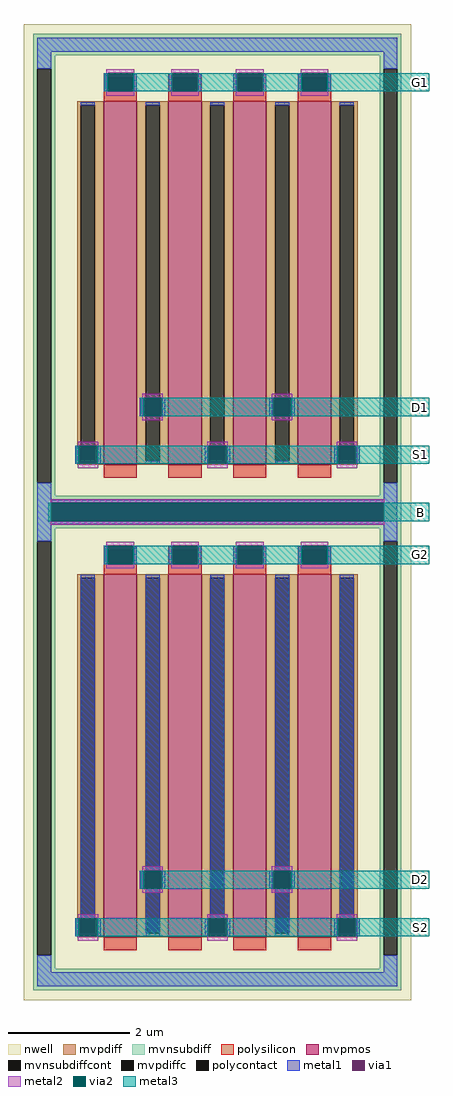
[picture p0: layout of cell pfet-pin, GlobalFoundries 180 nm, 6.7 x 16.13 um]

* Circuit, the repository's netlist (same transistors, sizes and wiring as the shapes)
** sch_path: /foss/designs/sscs-chipathon2025-LNA/designs/libs/core_single-fet/pfet-pin/pfet-pin.sch
.subckt pfet-pin B S1 G1 D1 S2 G2 D2
*.PININFO S1:B B:B G1:B D1:B S2:B G2:B D2:B
M5 D1 G1 S1 B pfet_06v0 L=0.55u W=6.0u nf=1 m=4
M6 D2 G2 S2 B pfet_06v0 L=0.55u W=6.0u nf=1 m=4
.ends

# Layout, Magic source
magic
tech gf180mcuD
magscale 1 10
<< metal1 >>
rect 197 -1027 209 -967
rect 293 -1027 305 -967
rect 411 -1027 423 -967
rect 507 -1027 519 -967
rect 625 -1027 637 -967
rect 721 -1027 733 -967
rect 839 -1027 851 -967
rect 935 -1027 947 -967
rect 316 -2100 328 -2040
rect 388 -2100 400 -2040
rect 744 -2100 756 -2040
rect 816 -2100 828 -2040
rect 102 -2258 114 -2198
rect 174 -2258 186 -2198
rect 530 -2258 542 -2198
rect 602 -2258 614 -2198
rect 958 -2258 970 -2198
rect 1030 -2258 1042 -2198
rect 13 -2447 23 -2387
rect 1121 -2447 1131 -2387
rect 197 -2589 209 -2529
rect 293 -2589 305 -2529
rect 411 -2589 423 -2529
rect 507 -2589 519 -2529
rect 625 -2589 637 -2529
rect 721 -2589 733 -2529
rect 839 -2589 851 -2529
rect 935 -2589 947 -2529
rect 121 -3760 167 -2624
rect 335 -3602 381 -2624
rect 316 -3662 328 -3602
rect 388 -3662 400 -3602
rect 102 -3820 114 -3760
rect 174 -3820 186 -3760
rect 335 -3820 381 -3662
rect 549 -3760 595 -2624
rect 763 -3602 809 -2624
rect 744 -3662 756 -3602
rect 816 -3662 828 -3602
rect 530 -3820 542 -3760
rect 602 -3820 614 -3760
rect 763 -3820 809 -3662
rect 977 -3760 1023 -2624
rect 958 -3820 970 -3760
rect 1030 -3820 1042 -3760
<< via1 >>
rect 209 -1027 293 -967
rect 423 -1027 507 -967
rect 637 -1027 721 -967
rect 851 -1027 935 -967
rect 328 -2100 388 -2040
rect 756 -2100 816 -2040
rect 114 -2258 174 -2198
rect 542 -2258 602 -2198
rect 970 -2258 1030 -2198
rect 23 -2447 1121 -2387
rect 209 -2589 293 -2529
rect 423 -2589 507 -2529
rect 637 -2589 721 -2529
rect 851 -2589 935 -2529
rect 328 -3662 388 -3602
rect 114 -3820 174 -3760
rect 756 -3662 816 -3602
rect 542 -3820 602 -3760
rect 970 -3820 1030 -3760
<< metal2 >>
rect 205 -967 297 -953
rect 205 -1027 209 -967
rect 293 -1027 297 -967
rect 205 -1041 297 -1027
rect 419 -967 511 -953
rect 419 -1027 423 -967
rect 507 -1027 511 -967
rect 419 -1041 511 -1027
rect 633 -967 725 -953
rect 633 -1027 637 -967
rect 721 -1027 725 -967
rect 633 -1041 725 -1027
rect 847 -967 939 -953
rect 847 -1027 851 -967
rect 935 -1027 939 -967
rect 847 -1041 939 -1027
rect 324 -2040 392 -2026
rect 324 -2100 328 -2040
rect 388 -2100 392 -2040
rect 324 -2114 392 -2100
rect 752 -2040 820 -2026
rect 752 -2100 756 -2040
rect 816 -2100 820 -2040
rect 752 -2114 820 -2100
rect 110 -2198 178 -2184
rect 110 -2258 114 -2198
rect 174 -2258 178 -2198
rect 110 -2272 178 -2258
rect 538 -2198 606 -2184
rect 538 -2258 542 -2198
rect 602 -2258 606 -2198
rect 538 -2272 606 -2258
rect 966 -2198 1034 -2184
rect 966 -2258 970 -2198
rect 1030 -2258 1034 -2198
rect 966 -2272 1034 -2258
rect 21 -2387 1123 -2375
rect 21 -2447 23 -2387
rect 1121 -2447 1123 -2387
rect 21 -2459 1123 -2447
rect 205 -2529 297 -2515
rect 205 -2589 209 -2529
rect 293 -2589 297 -2529
rect 205 -2603 297 -2589
rect 419 -2529 511 -2515
rect 419 -2589 423 -2529
rect 507 -2589 511 -2529
rect 419 -2603 511 -2589
rect 633 -2529 725 -2515
rect 633 -2589 637 -2529
rect 721 -2589 725 -2529
rect 633 -2603 725 -2589
rect 847 -2529 939 -2515
rect 847 -2589 851 -2529
rect 935 -2589 939 -2529
rect 847 -2603 939 -2589
rect 324 -3602 392 -3588
rect 324 -3662 328 -3602
rect 388 -3662 392 -3602
rect 324 -3676 392 -3662
rect 752 -3602 820 -3588
rect 752 -3662 756 -3602
rect 816 -3662 820 -3602
rect 752 -3676 820 -3662
rect 110 -3760 178 -3746
rect 110 -3820 114 -3760
rect 174 -3820 178 -3760
rect 110 -3834 178 -3820
rect 538 -3760 606 -3746
rect 538 -3820 542 -3760
rect 602 -3820 606 -3760
rect 538 -3834 606 -3820
rect 966 -3760 1034 -3746
rect 966 -3820 970 -3760
rect 1030 -3820 1034 -3760
rect 966 -3834 1034 -3820
<< via2 >>
rect 209 -1027 293 -967
rect 423 -1027 507 -967
rect 637 -1027 721 -967
rect 851 -1027 935 -967
rect 328 -2100 388 -2040
rect 756 -2100 816 -2040
rect 114 -2258 174 -2198
rect 542 -2258 602 -2198
rect 970 -2258 1030 -2198
rect 23 -2447 1121 -2387
rect 209 -2589 293 -2529
rect 423 -2589 507 -2529
rect 637 -2589 721 -2529
rect 851 -2589 935 -2529
rect 328 -3662 388 -3602
rect 756 -3662 816 -3602
rect 114 -3820 174 -3760
rect 542 -3820 602 -3760
rect 970 -3820 1030 -3760
<< metal3 >>
rect 199 -1027 209 -967
rect 293 -1027 423 -967
rect 507 -1027 637 -967
rect 721 -1027 851 -967
rect 935 -1027 1272 -967
rect 318 -2100 328 -2040
rect 388 -2100 756 -2040
rect 816 -2100 1272 -2040
rect 104 -2258 114 -2198
rect 174 -2258 542 -2198
rect 602 -2258 970 -2198
rect 1030 -2258 1272 -2198
rect 13 -2447 23 -2387
rect 1121 -2447 1272 -2387
rect 199 -2589 209 -2529
rect 293 -2589 423 -2529
rect 507 -2589 637 -2529
rect 721 -2589 851 -2529
rect 935 -2589 1272 -2529
rect 318 -3662 328 -3602
rect 388 -3662 756 -3602
rect 816 -3662 1272 -3602
rect 104 -3820 114 -3760
rect 174 -3820 542 -3760
rect 602 -3820 970 -3760
rect 1030 -3820 1272 -3760
use pfet_06v0_ZXY25Q  M1 pfet-vdd
transform 1 0 572 0 1 -1636
box -640 -832 640 832
use pfet_06v0_ZXY25Q  pfet_06v0_ZXY25Q_0
transform 1 0 572 0 1 -3198
box -640 -832 640 832
<< labels >>
flabel metal3 1212 -1027 1272 -967 0 FreeSans 320 0 0 0 G1
port 1 nsew
flabel metal3 1212 -2100 1272 -2040 0 FreeSans 320 0 0 0 D1
port 2 nsew
flabel metal3 1212 -2258 1272 -2198 0 FreeSans 320 0 0 0 S1
port 3 nsew
flabel metal3 1212 -2589 1272 -2529 0 FreeSans 320 0 0 0 G2
port 4 nsew
flabel metal3 1212 -3662 1272 -3602 0 FreeSans 320 0 0 0 D2
port 6 nsew
flabel metal3 1212 -3820 1272 -3760 0 FreeSans 320 0 0 0 S2
port 9 nsew
flabel metal3 1212 -2447 1272 -2387 0 FreeSans 320 0 0 0 B
port 12 nsew
<< end >>

# cell pfet_06v0_ZXY25Q: kit device pfet_06v0, w 6.0 l 0.55 m 1 nf 4 diffcov 100 polycov 100 guard 1 glc 1 grc 1 gtc 0 gbc 0 tbcov 100 rlcov 100 topc 1 botc 0 poverlap 0 doverlap 1 lmin 0.5 wmin 0.3 class mosfet full_metal 1 compatible {pfet_03v3 pfet_06v0}
